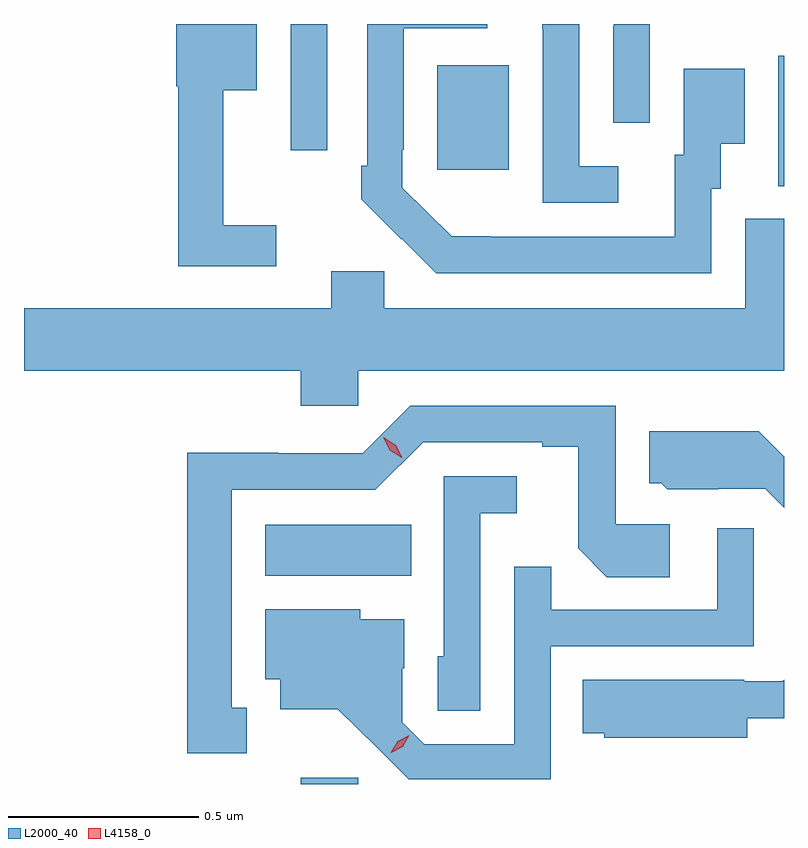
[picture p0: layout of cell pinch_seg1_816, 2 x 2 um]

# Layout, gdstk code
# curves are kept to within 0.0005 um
import gdstk
lib = gdstk.Library(unit=1e-6, precision=1e-09)
def R(c, l, rs):  # rectangles x0, y0, x1, y1
    for r in rs: c.add(gdstk.rectangle(r[:2], r[2:], *l))
def P(c, l, *ps):  # polygons
    for p in ps: c.add(gdstk.Polygon(p, *l))
L2000_40 = (2000, 40)
L4158_0 = (4158, 0)

pinch_seg1_816 = lib.new_cell('pinch_seg1_816')
R(pinch_seg1_816, L2000_40, [(383.219,573.288,383.37,573.304), (383.126,573.836,383.51,573.97), (384.476,574.861,384.491,575.204), (383.579,574.905,383.767,575.179), (383.193,574.956,383.289,575.288)])
P(pinch_seg1_816, L2000_40, [(384.055,574.914),(383.952,574.914),(383.952,575.288),(383.855,575.288),(383.855,575.275),(383.856,575.275),(383.856,574.818),(384.055,574.818)],
  [(384.138,575.288),(384.043,575.288),(384.043,575.282),(384.042,575.282),(384.042,575.028),(384.138,575.028)],
  [(384.3,574.854),(384.325,574.854),(384.325,574.973),(384.388,574.973),(384.388,575.17),(384.227,575.17),(384.227,574.944),(384.203,574.944),(384.203,574.728),(383.719,574.728),(383.719,574.729),(383.616,574.729),(383.487,574.857),(383.487,574.957),(383.49,574.957),(383.49,575.277),(383.71,575.277),(383.71,575.288),(383.394,575.288),(383.394,574.915),(383.379,574.915),(383.379,574.827),(383.484,574.722),(383.485,574.723),(383.576,574.632),(384.3,574.632)],
  [(383.155,574.759),(383.015,574.759),(383.015,575.114),(383.104,575.114),(383.104,575.288),(382.892,575.288),(382.892,575.124),(382.897,575.124),(382.897,574.65),(383.155,574.65)],
  [(383.37,574.376),(384.491,574.376),(384.491,574.776),(384.389,574.776),(384.389,574.54),(383.439,574.54),(383.439,574.638),(383.3,574.638),(383.3,574.54),(382.491,574.54),(382.491,574.376),(383.219,574.376),(383.219,574.283),(383.37,574.283)],
  [(383.077,573.489),(383.038,573.489),(383.038,574.062),(383.415,574.062),(383.541,574.188),(383.855,574.188),(383.855,574.176),(383.949,574.176),(383.949,573.908),(384.025,573.832),(384.19,573.832),(384.19,573.972),(384.048,573.972),(384.048,574.284),(383.508,574.284),(383.382,574.158),(383.16,574.158),(383.16,574.16),(382.92,574.16),(382.92,573.369),(383.077,573.369)],
  [(384.491,574.149),(384.425,574.216),(384.137,574.216),(384.137,574.08),(384.168,574.08),(384.184,574.064),(384.318,574.064),(384.318,574.065),(384.441,574.065),(384.491,574.015)],
  [(383.691,574.001),(383.788,574.001),(383.788,574.098),(383.595,574.098),(383.595,573.624),(383.58,573.624),(383.58,573.481),(383.691,573.481)],
  [(383.877,573.651),(384.411,573.651),(384.411,573.961),(384.315,573.961),(384.315,573.747),(383.879,573.747),(383.879,573.86),(383.781,573.86),(383.781,573.393),(383.544,573.393),(383.487,573.45),(383.487,573.592),(383.491,573.592),(383.491,573.721),(383.376,573.721),(383.376,573.748),(383.126,573.748),(383.126,573.564),(383.165,573.564),(383.165,573.485),(383.317,573.485),(383.504,573.3),(383.877,573.3)],
  [(384.394,573.461),(384.491,573.461),(384.491,573.563),(384.486,573.558),(384.386,573.558),(384.386,573.562),(383.962,573.562),(383.962,573.422),(384.018,573.422),(384.018,573.41),(384.394,573.41)])
P(pinch_seg1_816, L4158_0, [(383.456,573.37),(383.456,573.37),(383.474,573.4),(383.505,573.416),(383.505,573.416),(383.505,573.416),(383.488,573.386),(383.457,573.37)],
  [(383.485,574.146),(383.454,574.166),(383.438,574.199),(383.438,574.2),(383.438,574.2),(383.469,574.18),(383.486,574.146),(383.486,574.146)])

lib.write_gds('pinch_seg1_816.gds')
